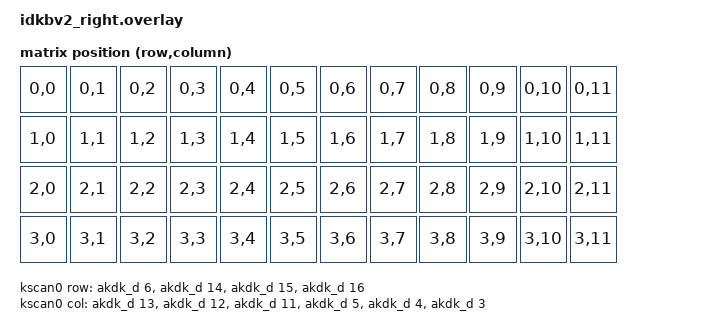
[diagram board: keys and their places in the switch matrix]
#include <dt-bindings/zmk/matrix_transform.h>
#include <input/processors.dtsi>
#include <dt-bindings/zmk/input_transform.h>
#include <dt-bindings/input/input-event-codes.h>
#include <dt-bindings/zmk/mouse.h>
#include "layouts.dtsi"

/ {
    chosen {
        zmk,physical-layout = &physical_layout0;
    };

    /* ▼▼▼ 1. 定義エリア ▼▼▼ */

    zip_x_scaler: zip_x_scaler {
        compatible = "zmk,input-processor-scaler";
        #input-processor-cells = <2>;
        type = <INPUT_EV_REL>;
        codes = <INPUT_REL_X>;
    };
    zip_y_scaler: zip_y_scaler {
        compatible = "zmk,input-processor-scaler";
        #input-processor-cells = <2>;
        type = <INPUT_EV_REL>;
        codes = <INPUT_REL_Y>;
    };

    default_transform: keymap_transform_0 {
        compatible = "zmk,matrix-transform";
        columns = <12>;
        rows = <4>;
        map = <
            RC(0,0) RC(0,1) RC(0,2) RC(0,3) RC(0,4) RC(0,5) RC(0,6) RC(0,7) RC(0,8) RC(0,9) RC(0,10) RC(0,11)
            RC(1,0) RC(1,1) RC(1,2) RC(1,3) RC(1,4) RC(1,5) RC(1,6) RC(1,7) RC(1,8) RC(1,9) RC(1,10) RC(1,11)
            RC(2,0) RC(2,1) RC(2,2) RC(2,3) RC(2,4) RC(2,5) RC(2,6) RC(2,7) RC(2,8) RC(2,9) RC(2,10) RC(2,11)
            RC(3,0) RC(3,1) RC(3,2) RC(3,3) RC(3,4) RC(3,5) RC(3,6) RC(3,7) RC(3,8) RC(3,9) RC(3,10) RC(3,11)
        >;
        col-offset = <6>;
    };

    kscan0: kscan {
        compatible = "zmk,kscan-gpio-matrix";
        wakeup-source;
        diode-direction = "col2row";
        row-gpios
            = <&akdk_d 6 (GPIO_ACTIVE_HIGH | GPIO_PULL_DOWN)>
            ,<&akdk_d 14 (GPIO_ACTIVE_HIGH | GPIO_PULL_DOWN)>
            ,<&akdk_d 15 (GPIO_ACTIVE_HIGH | GPIO_PULL_DOWN)>
            ,<&akdk_d 16 (GPIO_ACTIVE_HIGH | GPIO_PULL_DOWN)>
            ;
        col-gpios
            = <&akdk_d 13 GPIO_ACTIVE_HIGH>
            ,<&akdk_d 12 GPIO_ACTIVE_HIGH>
            ,<&akdk_d 11 GPIO_ACTIVE_HIGH>
            ,<&akdk_d 5 GPIO_ACTIVE_HIGH>
            ,<&akdk_d 4 GPIO_ACTIVE_HIGH>
            ,<&akdk_d 3 GPIO_ACTIVE_HIGH>
            ;
    };

    /* 右手：常にマウスカーソル */
    trackball_listener: trackball_listener {
        compatible = "zmk,input-listener";
        device = <&trackball>;
        input-processors = <
            &zip_xy_transform (INPUT_TRANSFORM_XY_SWAP | INPUT_TRANSFORM_X_INVERT)
            &zip_x_scaler 5 2
            &zip_y_scaler 1 1
        >;
    };

    split_inputs {
        #address-cells = <1>;
        #size-cells = <0>;
        trackball_split: trackball_split@0 {
            compatible = "zmk,input-split";
            reg = <0>;
        };
    };

    /* 左手設定その1：マウスカーソル（全レイヤー） */
    trackball_split_listener: trackball_split_listener {
        compatible = "zmk,input-listener";
        device = <&trackball_split>;
        status = "okay";
        input-processors = <
            &zip_xy_transform (INPUT_TRANSFORM_XY_SWAP | INPUT_TRANSFORM_X_INVERT)
            &zip_x_scaler 5 2
            &zip_y_scaler 1 1
        >;
    };

    /* ▼▼▼ スクロール設定（修正版） ▼▼▼ */
    
    /* 縦スクロール (レイヤー1, 2のみ) */
    scroll_listener_y {
        compatible = "zmk,input-behavior-listener";
        device = <&trackball_split>;
        layers = <1 2>; 
        evt-type = <INPUT_EV_REL>;
        
        /* 修正点1: 生データの「X軸」を監視する（90度回転しているので、生のXが縦になる） */
        x-input-code = <INPUT_REL_X>; 
        
        scale-multiplier = <1>;
        /* 修正点2: 数値を64まで上げて感度を下げる（ノイズ対策） */
        scale-divisor = <64>; 
        
        /* バインディング: 動きが逆なら UP と DOWN を入れ替えてください */
        bindings = <&msc SCRL_DOWN>, <&msc SCRL_UP>;
    };

    /* 横スクロール (レイヤー1, 2のみ) */
    scroll_listener_x {
        compatible = "zmk,input-behavior-listener";
        device = <&trackball_split>;
        layers = <1 2>; 
        evt-type = <INPUT_EV_REL>;
        
        /* 修正点3: 生データの「Y軸」を監視する（90度回転しているので、生のYが横になる） */
        x-input-code = <INPUT_REL_Y>; 
        
        scale-multiplier = <1>;
        scale-divisor = <64>; 
        
        /* バインディング: 動きが逆なら LEFT と RIGHT を入れ替えてください */
        bindings = <&msc SCRL_LEFT>, <&msc SCRL_RIGHT>;
    };
};

&physical_layout0 {
    kscan = <&kscan0>;
    transform = <&default_transform>;
};

&pinctrl {
    spi0_default: spi0_default {
        group1 {
            psels = <NRF_PSEL(SPIM_SCK, 0, 12)>,
                <NRF_PSEL(SPIM_MOSI, 1, 9)>,
                <NRF_PSEL(SPIM_MISO, 1, 9)>;
        };
    };

    spi0_sleep: spi0_sleep {
        group1 {
            psels = <NRF_PSEL(SPIM_SCK, 0, 12)>,
                <NRF_PSEL(SPIM_MOSI, 1, 9)>,
                <NRF_PSEL(SPIM_MISO, 1, 9)>;
            low-power-enable;
        };
    };
};

&spi0 {
    status = "okay";
    compatible = "nordic,nrf-spim";
    pinctrl-0 = <&spi0_default>;
    pinctrl-1 = <&spi0_sleep>;
    pinctrl-names = "default", "sleep";
    cs-gpios = <&gpio0 13 GPIO_ACTIVE_LOW>;

    trackball: trackball@0 {
        status = "okay";
        compatible = "pixart,paw3222";
        reg = <0>;
        spi-max-frequency = <2000000>;
        irq-gpios = <&gpio0 15 GPIO_ACTIVE_LOW>;
    };
};
